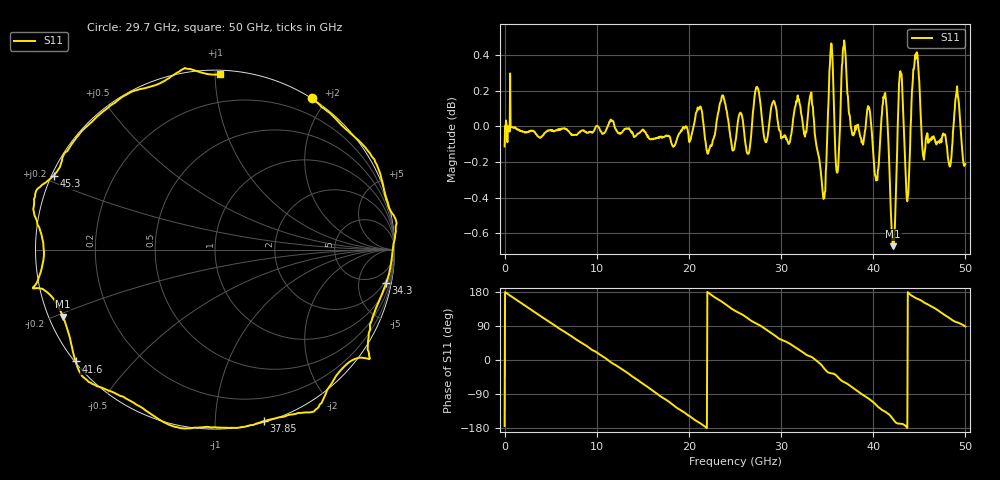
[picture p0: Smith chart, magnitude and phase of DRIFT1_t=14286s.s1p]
!Created with skrf (http://scikit-rf.org).
# Hz S RI R 50.0
!freq ReS11 ImS11
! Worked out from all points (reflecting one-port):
!   1001 points, 300 kHz to 50 GHz, reference 50 ohm
!   lowest |S11| = -0.7 dB at 42.15 GHz (marker M1), VSWR 25.90, Z = 2.02 - j10.5 ohm
!   phase of S11 starts at -174 deg and turns -817 deg over the sweep
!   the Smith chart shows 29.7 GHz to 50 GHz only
!   S11 on the Smith chart (normalised r, x): 29.7 GHz: -0.00, +1.83; 34.3 GHz: 2, -10; 37.85 GHz: 0.01, -1.32; 41.6 GHz: 0.00, -0.35; 45.3 GHz: 0.01, +0.22; 50 GHz: 0.02, +1.03
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300000  -0.9821 -0.0995
1.500291e9  -0.9058 0.4185
3.25028e9  -0.5917 0.8016
6.250262e9  0.2026 0.9777
9.500243e9  0.8928 0.4419
1.250022e10  0.9318 -0.3498
1.580021e10  0.2367 -0.9631
1.74002e10  -0.224 -0.968
1.875019e10  -0.5986 -0.7922
2.150017e10  -0.9938 -0.1496
2.350016e10  -0.9226 0.4278
2.500015e10  -0.6337 0.7593
2.740014e10  -0.0941 1.022
2.970012e10  0.5387 0.8437
3.125011e10  0.7866 0.6195
3.31001e10  1.002 0.1778
3.430009e10  0.9539 -0.1856
3.520009e10  0.8556 -0.5683
3.750008e10  0.3717 -0.9329
3.785007e10  0.2704 -0.9567
3.955006e10  -0.2224 -0.9876
4.160005e10  -0.7766 -0.6231
4.215005e10  -0.8472 -0.3728
4.290004e10  -1.013 -0.2166
4.375004e10  -0.9557 0.0148
4.530003e10  -0.8986 0.4116
4.770001e10  -0.4882 0.8665
5e10  0.0254 0.9756
